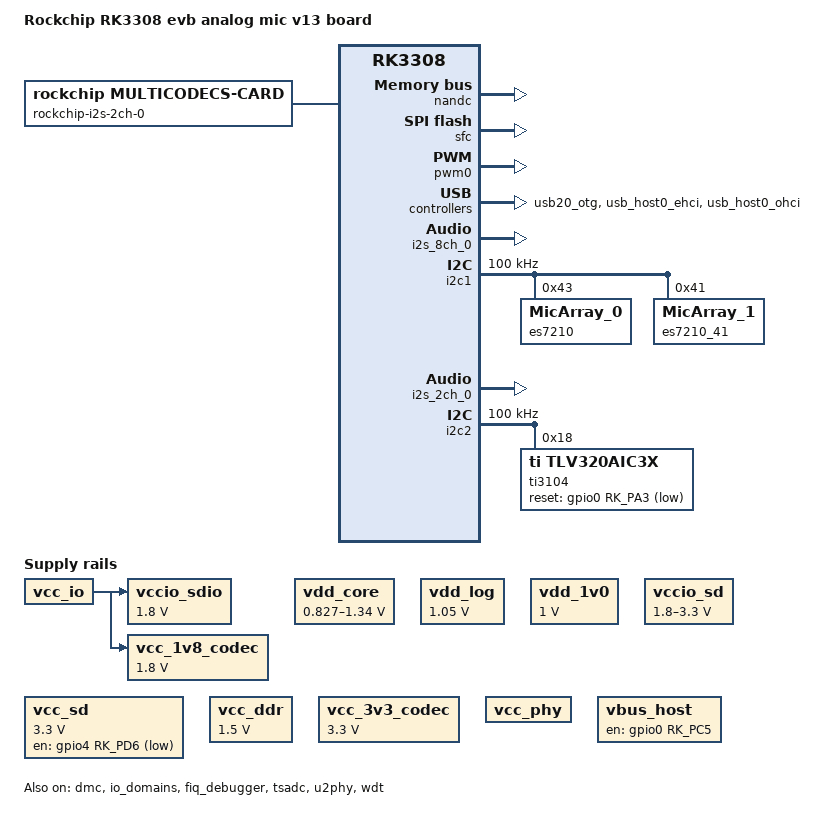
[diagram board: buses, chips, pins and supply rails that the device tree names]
// SPDX-License-Identifier: (GPL-2.0+ OR MIT)
/*
 * Copyright (c) 2018 Fuzhou Rockchip Electronics Co., Ltd
 */

/dts-v1/;
#include <dt-bindings/input/input.h>
#include "jd100.dtsi"

/ {
	model = "Rockchip RK3308 evb analog mic v13 board";
	compatible = "rockchip,rk3308-evb-amic-v13", "rockchip,rk3308";
	
	chosen {
		bootargs = "earlycon=uart8250,mmio32,0xff0c0000 swiotlb=1 console=ttyFIQ0 root=PARTUUID=614e0000-0000 rootfstype=squashfs rootwait snd_aloop.index=7";
	};
	
	uboot-wide-temperature {
		status = "okay";
		compatible = "rockchip,uboot-wide-temperature";
	};
	
	dummy_codec: dummy-codec {
		compatible = "rockchip,dummy-codec";
		#sound-dai-cells = <0>;
	};
	
	vdd_core: vdd-core {
		compatible = "pwm-regulator";
		pwms = <&pwm0 0 5000 1>;
		regulator-name = "vdd_core";
		regulator-min-microvolt = <827000>;
		regulator-max-microvolt = <1340000>;
		regulator-init-microvolt = <1015000>;
		regulator-always-on;
		regulator-boot-on;
		regulator-settling-time-up-us = <250>;
		status = "okay";
	};

	vdd_log: vdd-log {
		compatible = "regulator-fixed";
		regulator-name = "vdd_log";
		regulator-always-on;
		regulator-boot-on;
		regulator-min-microvolt = <1050000>;
		regulator-max-microvolt = <1050000>;
	};

	vdd_1v0: vdd-1v0 {
		compatible = "regulator-fixed";
		regulator-name = "vdd_1v0";
		regulator-always-on;
		regulator-boot-on;
		regulator-min-microvolt = <1000000>;
		regulator-max-microvolt = <1000000>;
	};

	vccio_sdio: vcc_1v8: vcc-1v8 {
		compatible = "regulator-fixed";
		regulator-name = "vcc_1v8";
		regulator-always-on;
		regulator-boot-on;
		regulator-min-microvolt = <1800000>;
		regulator-max-microvolt = <1800000>;
		vin-supply = <&vcc_io>;
	};

	vccio_sd: vccio-sd {
		compatible = "regulator-gpio";
		regulator-name = "vccio_sd";
		regulator-min-microvolt = <1800000>;
		regulator-max-microvolt = <3300000>;
		gpios = <&gpio0 RK_PB7 GPIO_ACTIVE_HIGH>;
		states = <1800000 0x0
			  3300000 0x1>;
	};

	vcc_sd: vcc-sd {
		compatible = "regulator-fixed";
		gpio = <&gpio4 RK_PD6 GPIO_ACTIVE_LOW>;
		regulator-name = "vcc_sd";
		regulator-min-microvolt = <3300000>;
		regulator-max-microvolt = <3300000>;
	};

	vcc_1v8_codec: vcc-1v8-codec {
		compatible = "regulator-fixed";
		regulator-name = "vcc_1v8_codec";
		regulator-always-on;
		regulator-boot-on;
		regulator-min-microvolt = <1800000>;
		regulator-max-microvolt = <1800000>;
		vin-supply = <&vcc_io>;
	};

	vcc_ddr: vcc-ddr {
		compatible = "regulator-fixed";
		regulator-name = "vcc_ddr";
		regulator-always-on;
		regulator-boot-on;
		regulator-min-microvolt = <1500000>;
		regulator-max-microvolt = <1500000>;
	};

	vcc_3v3_codec: vcc_io: vcc-io {
		compatible = "regulator-fixed";
		regulator-name = "vcc_io";
		regulator-always-on;
		regulator-boot-on;
		regulator-min-microvolt = <3300000>;
		regulator-max-microvolt = <3300000>;
	};

	vcc_phy: vcc-phy-regulator {
		compatible = "regulator-fixed";
		regulator-name = "vcc_phy";
		regulator-always-on;
		regulator-boot-on;
	};

	vbus_host: vbus-host-regulator {
		compatible = "regulator-fixed";
		enable-active-high;
		gpio = <&gpio0 RK_PC5 GPIO_ACTIVE_HIGH>;
		pinctrl-names = "default";
		pinctrl-0 = <&usb_drv>;
		regulator-name = "vbus_host";
	};
	
	es7210_sound: es7210-sound {
		status = "okay";
		compatible = "simple-audio-card";
		simple-audio-card,format = "i2s";
		simple-audio-card,mclk-fs = <256>;
		simple-audio-card,name = "es7210";

		simple-audio-card,cpu {
			sound-dai = <&i2s_8ch_0>;
		};
		simple-audio-card,codec {
			sound-dai = <&es7210>;
		};
 	};
	
	rockchip-i2s-2ch-0 {
		status = "okay";
		compatible = "rockchip,multicodecs-card";
		rockchip,card-name = "ti3104";
		rockchip,mclk-fs = <256>;
		rockchip,cpu = <&i2s_2ch_0>;
		rockchip,codec = <&ti3104>;
	};
};

&cpu0 {
	cpu-supply = <&vdd_core>;
};

&cpu0_opp_table {
	rockchip,high-temp = <55000>;
	rockchip,high-temp-max-freq = <1008000>;
	opp-1200000000 {
		status = "okay";
	};
	opp-1296000000 {
		status = "okay";
	};
};

&rk3308bs_cpu0_opp_table {
	rockchip,high-temp = <55000>;
	rockchip,high-temp-max-freq = <1008000>;
	opp-1008000000 {
		status = "okay";
	};
	opp-1104000000 {
		status = "okay";
	};
};

&dmc {
	center-supply = <&vdd_log>;
	status = "okay";
};

&io_domains {
	status = "okay";

	vccio0-supply = <&vcc_io>;
	vccio1-supply = <&vcc_io>;
	vccio2-supply = <&vcc_io>;
	vccio3-supply = <&vcc_io>;
	vccio4-supply = <&vcc_io>;
	vccio5-supply = <&vcc_io>;
};

&fiq_debugger {
	status = "okay";
};

&nandc {
	status = "okay";
};

&rockchip_suspend {
	rockchip,pwm-regulator-config = <
		(0
		| RKPM_PWM_REGULATOR
		)
	>;
	
	rockchip,sleep-mode-config = <
		(0
		| RKPM_PMU_HW_PLLS_PD
		| RKPM_PWM_VOLTAGE_DEFAULT
		)
	>;

	status = "okay";
};

&thermal_zones {
	soc-thermal {
		sustainable-power = <308>;
		k_pu = <8>;
		k_po = <1024>;
		k_i = <0>;

		trips {
			trip-point-0 {
				temperature = <55000>;
			};
			trip-point-1 {
				temperature = <90000>;
			};
		};
	};
};

&sfc {
	status = "okay";
};

&tsadc {
	rockchip,hw-tshut-mode = <0>; /* tshut mode 0:CRU 1:GPIO */
	rockchip,hw-tshut-polarity = <1>; /* tshut polarity 0:LOW 1:HIGH */
	status = "okay";
};

&pinctrl {
	pinctrl-names = "default";
	pinctrl-0 = <&rtc_32k>;

	usb {
		usb_drv: usb-drv {
			rockchip,pins = <0 RK_PC5 RK_FUNC_GPIO &pcfg_pull_none>;
		};
	};
};

&pwm0 {
	status = "okay";
	pinctrl-names = "active";
	pinctrl-0 = <&pwm0_pin_pull_down>;
};

&u2phy {
	status = "okay";

	u2phy_host: host-port {
		phy-supply = <&vbus_host>;
		status = "okay";
	};

	u2phy_otg: otg-port {
		status = "okay";
	};
};

&usb20_otg {
	status = "okay";
};

&usb_host0_ehci {
	status = "okay";
};

&usb_host0_ohci{
	status = "okay";
};

&i2s_8ch_0 {
	status = "okay";
	#sound-dai-cells = <0>;
	rockchip,clk-trcm = <2>;
};

&i2c1 {
	status = "okay";
	clock-frequency = <100000>;
	es7210: es7210@43 {
		#sound-dai-cells = <0>;
		compatible = "MicArray_0";
		reg = <0x43>;
		clocks = <&cru SCLK_I2S0_8CH_RX_OUT>;
		clock-names = "mclk";
 	};
	es7210_41: es7210@41 {
		#sound-dai-cells = <0>;
		compatible = "MicArray_1";
		reg = <0x41>;
 	};
};

&i2s_2ch_0 {
	status = "okay";
	#sound-dai-cells = <0>;
	rockchip,clk-trcm = <1>;
};

&i2c2 {
	status = "okay";
	clock-frequency = <100000>;
	ti3104: ti3104@18 {
		#sound-dai-cells = <0>;
		compatible = "ti,tlv320aic3x";
		reg = <0x18>;
		clocks = <&cru SCLK_I2S0_2CH_OUT>;
    	clock-names = "mclk";
		gpio-reset = <&gpio0 RK_PA3 GPIO_ACTIVE_LOW>;
	};
};

&wdt {
	status = "okay";
};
